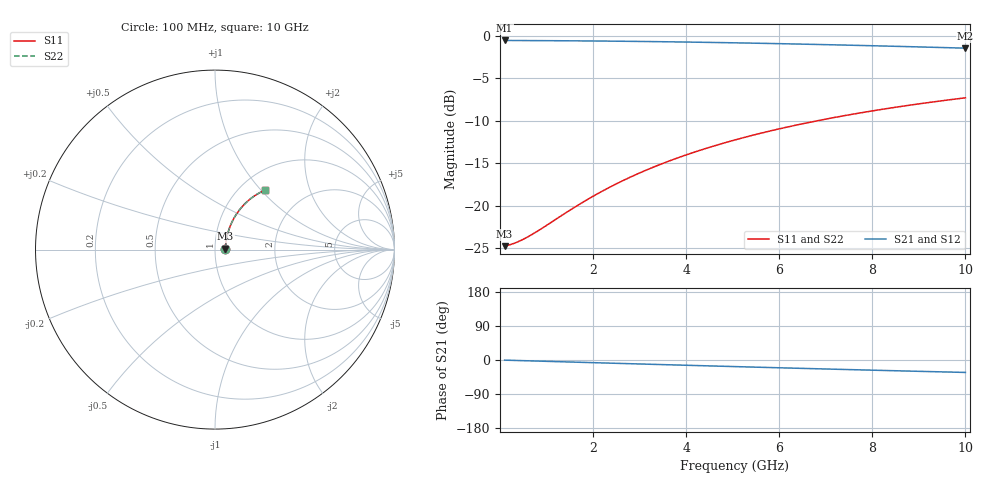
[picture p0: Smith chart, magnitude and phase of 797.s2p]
# Hz S RI R 50.00
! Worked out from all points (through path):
!   100 points, 100 MHz to 10 GHz, reference 50 ohm
!   highest |S21| = -0.51 dB at 100 MHz (marker M1); lowest = -1.4 dB at 10 GHz (marker M2)
!   group delay of S21, straight-line fit = 9.15 ps
!   lowest |S11| = -24.8 dB at 100 MHz (marker M3), VSWR 1.12, Z = 56.1 + j0.508 ohm
!   |S11| at or under -10 dB: start of sweep to 6.811 GHz
!   |S22| runs from -24.8 to -7.3 dB; largest |S21 - S12| = 0
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1e8  0.0574 0.00452  0.9426 -0.00579  0.9426 -0.00579  0.0574 0.00452
3e8  0.0583 0.0135  0.9417 -0.0174  0.9417 -0.0174  0.0583 0.0135
4e8  0.0587 0.018  0.9413 -0.0231  0.9413 -0.0231  0.0587 0.018
6e8  0.0595 0.027  0.9404 -0.0346  0.9404 -0.0346  0.0595 0.027
8e8  0.0606 0.0359  0.9393 -0.0461  0.9393 -0.0461  0.0606 0.0359
1.5e9  0.0657 0.0669  0.9341 -0.0861  0.9341 -0.0861  0.0657 0.0669
1.8e9  0.0686 0.08  0.9311 -0.103  0.9311 -0.103  0.0686 0.08
2.2e9  0.0732 0.0972  0.9264 -0.1253  0.9264 -0.1253  0.0732 0.0972
2.6e9  0.0785 0.1141  0.9209 -0.1473  0.9209 -0.1473  0.0785 0.1141
3e9  0.0847 0.1307  0.9146 -0.169  0.9146 -0.169  0.0847 0.1307
3.4e9  0.0915 0.1468  0.9075 -0.1902  0.9075 -0.1902  0.0915 0.1468
3.8e9  0.0991 0.1625  0.8997 -0.2111  0.8997 -0.2111  0.0991 0.1625
4.2e9  0.1073 0.1778  0.8911 -0.2314  0.8911 -0.2314  0.1073 0.1778
4.6e9  0.1162 0.1925  0.882 -0.2513  0.882 -0.2513  0.1162 0.1925
5.1e9  0.1282 0.2101  0.8696 -0.2753  0.8696 -0.2753  0.1282 0.2101
5.5e9  0.1383 0.2236  0.8591 -0.2939  0.8591 -0.2939  0.1383 0.2236
5.9e9  0.149 0.2364  0.848 -0.3119  0.848 -0.3119  0.149 0.2364
6.7e9  0.1717 0.2603  0.8244 -0.3461  0.8244 -0.3461  0.1717 0.2603
7.5e9  0.196 0.2815  0.7992 -0.3778  0.7992 -0.3778  0.196 0.2815
8.4e9  0.2247 0.3023  0.7693 -0.4103  0.7693 -0.4103  0.2247 0.3023
9.2e9  0.251 0.318  0.7417 -0.4364  0.7417 -0.4364  0.251 0.318
1e10  0.2779 0.3311  0.7134 -0.46  0.7134 -0.46  0.2779 0.3311
